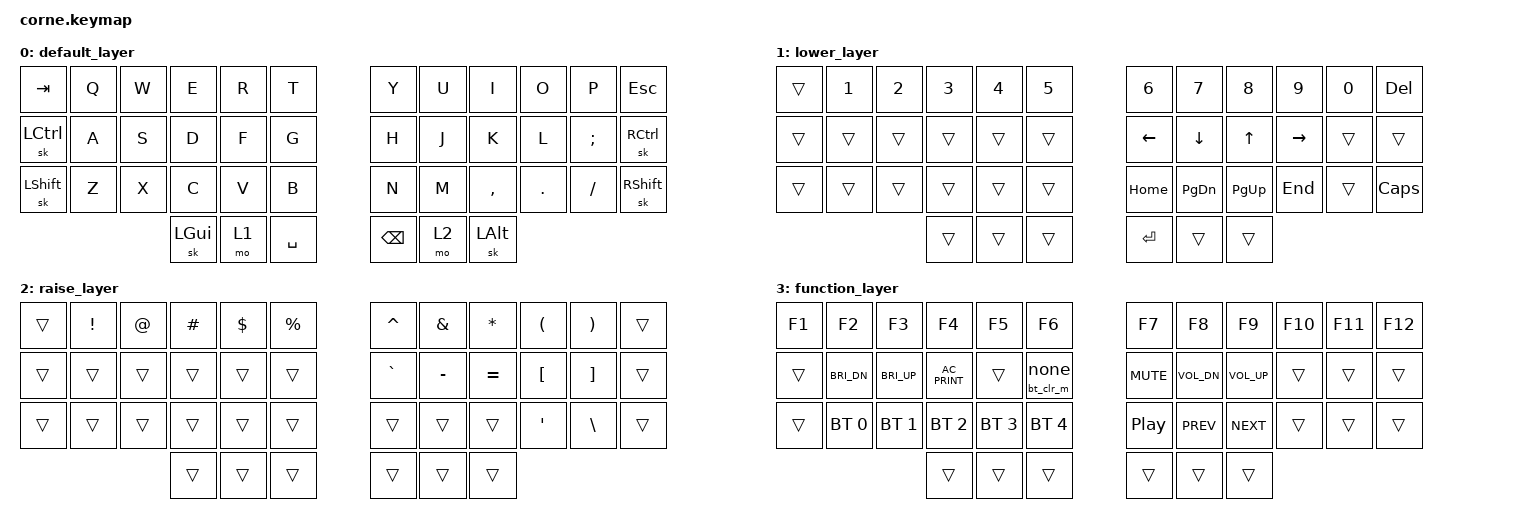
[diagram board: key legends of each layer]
#include <behaviors.dtsi>
#include <dt-bindings/zmk/bt.h>
#include <dt-bindings/zmk/keys.h>

&sk {
    release-after-ms = <300>;
    quick-release;
};

/ {
    macros {
        bt_clr_m: bt_clr_m {
            compatible = "zmk,behavior-macro";
            #binding-cells = <0>;
            bindings = <&bt BT_CLR>;
        };
    };

    behaviors {
        bt_clr_hold: bt_clr_hold {
            compatible = "zmk,behavior-hold-tap";
            #binding-cells = <2>;
            flavor = "tap-preferred";
            tapping-term-ms = <3000>;
            bindings = <&bt_clr_m>, <&none>;
        };
    };

    keymap {
        compatible = "zmk,keymap";

        default_layer {
            bindings = <
&kp TAB   &kp Q &kp W &kp E    &kp R &kp T /**/&kp Y    &kp U &kp I     &kp O   &kp P    &kp ESC
&sk LCTRL &kp A &kp S &kp D    &kp F &kp G /**/&kp H    &kp J &kp K     &kp L   &kp SEMI &sk RCTRL
&sk LSHFT &kp Z &kp X &kp C    &kp V &kp B /**/&kp N    &kp M &kp COMMA &kp DOT &kp FSLH &sk RSHIFT
                      &sk LGUI &mo 1 &kp SPACE &kp BSPC &mo 2 &sk LALT
            >;
        };

        lower_layer {
            bindings = <
&trans &kp N1 &kp N2 &kp N3 &kp N4 &kp N5/**/&kp N6   &kp N7    &kp N8    &kp N9    &kp N0 &kp DEL
&trans &trans &trans &trans &trans &trans/**/&kp LEFT &kp DOWN  &kp UP    &kp RIGHT &trans &trans
&trans &trans &trans &trans &trans &trans/**/&kp HOME &kp PG_DN &kp PG_UP &kp END   &trans &kp CAPSLOCK
                     &trans &trans &trans    &kp RET  &trans    &trans
            >;
        };

        raise_layer {
            bindings = <
&trans &kp EXCL &kp AT &kp HASH &kp DLLR &kp PRCNT/**/&kp CARET &kp AMPS  &kp ASTRK &kp LPAR &kp RPAR &trans
&trans &trans   &trans &trans   &trans   &trans   /**/&kp GRAVE &kp MINUS &kp EQUAL &kp LBKT &kp RBKT &trans
&trans &trans   &trans &trans   &trans   &trans   /**/&trans    &trans    &trans    &kp SQT  &kp BSLH &trans
                       &trans   &trans   &trans   /**/&trans    &trans    &trans
            >;
        };

        function_layer {
            bindings = <
&kp F1 &kp F2       &kp F3       &kp F4         &kp F5       &kp F6          /**/&kp F7     &kp F8       &kp F9       &kp F10 &kp F11 &kp F12
&trans &kp C_BRI_DN &kp C_BRI_UP &kp C_AC_PRINT &trans       &bt_clr_hold 0 0/**/&kp C_MUTE &kp C_VOL_DN &kp C_VOL_UP &trans  &trans  &trans
&trans &bt BT_SEL 0 &bt BT_SEL 1 &bt BT_SEL 2   &bt BT_SEL 3 &bt BT_SEL 4    /**/&kp C_PP   &kp C_PREV   &kp C_NEXT   &trans  &trans  &trans
                                                 &trans         &trans        &trans      /**/&trans     &trans            &trans
            >;
        };
    };

    conditional_layers {
        compatible = "zmk,conditional-layers";
        tri_layer {
            if-layers = <1 2>;
            then-layer = <3>;
        };
    };
};
